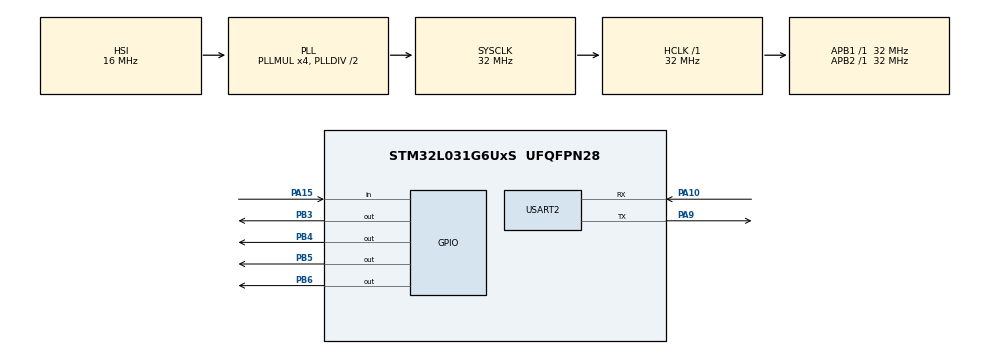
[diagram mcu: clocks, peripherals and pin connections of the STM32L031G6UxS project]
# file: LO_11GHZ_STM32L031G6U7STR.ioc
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Mcu.Family=STM32L0
Mcu.Name=STM32L031G6UxS
Mcu.Package=UFQFPN28
PA10.Mode=Asynchronous
PA10.Signal=USART2_RX
PA13.Mode=Serial_Wire
PA13.Signal=SYS_SWDIO
PA14.Mode=Serial_Wire
PA14.Signal=SYS_SWCLK
PA15.Signal=GPIO_Input
PA9.Mode=Asynchronous
PA9.Signal=USART2_TX
PB3.Signal=GPIO_Output
PB4.Signal=GPIO_Output
PB5.Signal=GPIO_Output
PB6.Signal=GPIO_Output
ProjectManager.HeapSize=0x200
ProjectManager.StackSize=0x400
ProjectManager.TargetToolchain=MDK-ARM V5.32
RCC.AHBFreq_Value=32000000
RCC.APB1Freq_Value=32000000
RCC.APB1TimFreq_Value=32000000
RCC.APB2Freq_Value=32000000
RCC.APB2TimFreq_Value=32000000
RCC.HCLKFreq_Value=32000000
RCC.HSE_VALUE=8000000
RCC.HSI16_VALUE=16000000
RCC.HSI_VALUE=16000000
RCC.LSE_VALUE=32768
RCC.MSI_VALUE=2097000
RCC.PLLMUL=RCC_PLLMUL_4
RCC.SYSCLKFreq_VALUE=32000000
RCC.SYSCLKSource=RCC_SYSCLKSOURCE_PLLCLK
RCC.VCOOutputFreq_Value=64000000
USART2.VirtualMode-Asynchronous=VM_ASYNC
board=custom

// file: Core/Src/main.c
/* USER CODE BEGIN Header */
/**
  ******************************************************************************
  * @file           : main.c
  * @brief          : Main program body
  ******************************************************************************
  * @attention
  *
  * Copyright (c) 2023 STMicroelectronics.
  * All rights reserved.
  *
  * This software is licensed under terms that can be found in the LICENSE file
  * in the root directory of this software component.
  * If no LICENSE file comes with this software, it is provided AS-IS.
  *
  ******************************************************************************
  */
/* USER CODE END Header */
#include "main.h"

/* USER CODE BEGIN Includes */
#include "softspi.h"
#include "adf4372.h"
#include "stdio.h"
#include "string.h"
/* USER CODE END Includes */

UART_HandleTypeDef huart2;

/* USER CODE BEGIN PV */
SoftSPI_TypeDef soft_spi_1;
adf4372_type_def adf4372_1;

uint8_t gui8_adf4372_reg_type[ADF4372_REG_NUMBER];
uint8_t gui8_adf4372_reg_value[ADF4372_REG_NUMBER];

uint8_t send_str[100];
uint8_t receive_str[4];
/* USER CODE END PV */

void SystemClock_Config(void);
static void MX_GPIO_Init(void);
static void MX_USART2_UART_Init(void);

int main(void)
{

  /* MCU Configuration--------------------------------------------------------*/

  /* Reset of all peripherals, Initializes the Flash interface and the Systick. */
  HAL_Init();

  /* Configure the system clock */
  SystemClock_Config();

  /* Initialize all configured peripherals */
  MX_GPIO_Init();
  MX_USART2_UART_Init();

  /* Infinite loop */
  /* USER CODE BEGIN WHILE */

  soft_spi_1.SCLK_GPIO=GPIOB;
  soft_spi_1.SCLK_Pin=GPIO_PIN_4;

  soft_spi_1.SDIO_GPIO=GPIOB;
  soft_spi_1.SDIO_Pin=GPIO_PIN_5;

  soft_spi_1.SS_GPIO=GPIOB;
  soft_spi_1.SS_Pin=GPIO_PIN_6;

  soft_spi_1.Delay_Time=5;

  SoftSPI_Init(&soft_spi_1);

  HAL_GPIO_WritePin(GPIOB,GPIO_PIN_3,GPIO_PIN_SET);

  adf4372_1.adf4372_reg_type=gui8_adf4372_reg_type;
  adf4372_1.adf4372_reg_value=gui8_adf4372_reg_value;
  adf4372_1.f_rfout=11e9;
  adf4372_1.n_frac_1=0;
  adf4372_1.n_frac_2=0;
  adf4372_1.n_int=0;
  adf4372_1.n_mod_1=0;
  adf4372_1.n_mod_2=0;
  adf4372_1.SoftSPIx=&soft_spi_1;

  HAL_Delay(1000);

  //adf4372_init(&adf4372_1);
  adf4372_ace_init(&adf4372_1);

//   HAL_Delay(2000);

//   adf4372_ace_init(&adf4372_1);

  sprintf(send_str,"adf4372 init finished.\r\n");
  HAL_UART_Transmit(&huart2,send_str,strlen(send_str),1000);

  HAL_Delay(100);

 uint32_t rf_int_default=*(__IO uint32_t *)FLASH_USER_START_ADDR;
 uint32_t rf_frac_default=*(__IO uint32_t *)(FLASH_USER_START_ADDR+4);

 if(rf_int_default==0x00||rf_int_default==0xff)
   rf_int_default=10;
 if(rf_frac_default==0x00||rf_frac_default==0xff)
   rf_frac_default=50;

 adf4372_update_freq(&adf4372_1,rf_int_default,rf_frac_default);
 sprintf(send_str,"load default freq: %d.%d GHz\r\n",rf_int_default,rf_frac_default);
 HAL_UART_Transmit(&huart2,send_str,strlen(send_str),1000);

  while (1)
  {
    /* USER CODE END WHILE */

    /* USER CODE BEGIN 3 */
    HAL_UART_Receive(&huart2,receive_str,3,1000);
    if(receive_str[0]!=0)
    {
      switch (receive_str[0])
      {
        case 0x0a:
        {
          sprintf(send_str,"mcu ok\r\n");
          HAL_UART_Transmit(&huart2,send_str,strlen(send_str),1000);
          break;
        }
        case 0x0b:
        {
          SoftSPI_ClrSS(&soft_spi_1);
          SoftSPI_Write_Word(&soft_spi_1,receive_str[1]|0x8000);
          uint8_t read_byte=SoftSPI_Read_Byte(&soft_spi_1);
          SoftSPI_SetSS(&soft_spi_1);

          sprintf(send_str,"read byte is %x\r\n",read_byte);
          HAL_UART_Transmit(&huart2,send_str,strlen(send_str),1000);
          break;
        }
        case 0x0c:
        {
          SoftSPI_ClrSS(&soft_spi_1);
          SoftSPI_Write_Word(&soft_spi_1,receive_str[1]);
          SoftSPI_Write_Byte(&soft_spi_1,receive_str[2]);
          SoftSPI_SetSS(&soft_spi_1);

          sprintf(send_str,"write byte %x, at reg %x\r\n",receive_str[2],receive_str[1]);
          HAL_UART_Transmit(&huart2,send_str,strlen(send_str),1000);
          break;
        }
        case 0x0d:
        {
          uint8_t read_pin = HAL_GPIO_ReadPin(GPIOA,GPIO_PIN_15);
          sprintf(send_str,"read pin is %d\r\n",read_pin);
          HAL_UART_Transmit(&huart2,send_str,strlen(send_str),1000);
          break;
        }
        case 0x0e:
        {
          //adf4372_update_freq(&adf4372_1);
          adf4372_ace_update_freq(&adf4372_1);
          sprintf(send_str,"update freq finish.\r\n");
          HAL_UART_Transmit(&huart2,send_str,strlen(send_str),1000);
          break;
        }
        case 0x0f:
        {
          adf4372_ace_init(&adf4372_1);

          sprintf(send_str,"adf4372 init finished.\r\n");
          HAL_UART_Transmit(&huart2,send_str,strlen(send_str),1000);
          break;
        }
        case 0xaa:
				{
					if(receive_str[1]<100&&receive_str[2]<100)
					{
						adf4372_update_freq(&adf4372_1,receive_str[1],receive_str[2]);
						sprintf(send_str,"update freq: %d.%02d GHz\r\n",receive_str[1],receive_str[2]);
						HAL_UART_Transmit(&huart2,send_str,strlen(send_str),1000);
					}
					else
					{
						sprintf(send_str,"invalid input.\r\n");
						HAL_UART_Transmit(&huart2,send_str,strlen(send_str),1000);
					}
					break;
				}
        case 0xab:
				{
					if(receive_str[1]<100&&receive_str[2]<100)
					{
						adf4372_update_freq(&adf4372_1,receive_str[1],receive_str[2]);
						sprintf(send_str,"update freq: %d.%02d GHz\r\n",receive_str[1],receive_str[2]);
						HAL_UART_Transmit(&huart2,send_str,strlen(send_str),1000);

            freq_write_flash(receive_str[1],receive_str[2]);
            sprintf(send_str,"default freq stored: %d.%02d GHz\r\n",receive_str[1],receive_str[2]);
						HAL_UART_Transmit(&huart2,send_str,strlen(send_str),1000);
					}
					else
					{
						sprintf(send_str,"invalid input.\r\n");
						HAL_UART_Transmit(&huart2,send_str,strlen(send_str),1000);
					}
					break;
				}
      }
      receive_str[0]=0;
    }
  }
  /* USER CODE END 3 */
}

void SystemClock_Config(void)
{
  RCC_OscInitTypeDef RCC_OscInitStruct = {0};
  RCC_ClkInitTypeDef RCC_ClkInitStruct = {0};
  RCC_PeriphCLKInitTypeDef PeriphClkInit = {0};

  /** Configure the main internal regulator output voltage
  */
  __HAL_PWR_VOLTAGESCALING_CONFIG(PWR_REGULATOR_VOLTAGE_SCALE1);

  /** Initializes the RCC Oscillators according to the specified parameters
  * in the RCC_OscInitTypeDef structure.
  */
  RCC_OscInitStruct.OscillatorType = RCC_OSCILLATORTYPE_HSI;
  RCC_OscInitStruct.HSIState = RCC_HSI_ON;
  RCC_OscInitStruct.HSICalibrationValue = RCC_HSICALIBRATION_DEFAULT;
  RCC_OscInitStruct.PLL.PLLState = RCC_PLL_ON;
  RCC_OscInitStruct.PLL.PLLSource = RCC_PLLSOURCE_HSI;
  RCC_OscInitStruct.PLL.PLLMUL = RCC_PLLMUL_4;
  RCC_OscInitStruct.PLL.PLLDIV = RCC_PLLDIV_2;
  if (HAL_RCC_OscConfig(&RCC_OscInitStruct) != HAL_OK)
  {
    Error_Handler();
  }

  /** Initializes the CPU, AHB and APB buses clocks
  */
  RCC_ClkInitStruct.ClockType = RCC_CLOCKTYPE_HCLK|RCC_CLOCKTYPE_SYSCLK
                              |RCC_CLOCKTYPE_PCLK1|RCC_CLOCKTYPE_PCLK2;
  RCC_ClkInitStruct.SYSCLKSource = RCC_SYSCLKSOURCE_PLLCLK;
  RCC_ClkInitStruct.AHBCLKDivider = RCC_SYSCLK_DIV1;
  RCC_ClkInitStruct.APB1CLKDivider = RCC_HCLK_DIV1;
  RCC_ClkInitStruct.APB2CLKDivider = RCC_HCLK_DIV1;

  if (HAL_RCC_ClockConfig(&RCC_ClkInitStruct, FLASH_LATENCY_1) != HAL_OK)
  {
    Error_Handler();
  }
  PeriphClkInit.PeriphClockSelection = RCC_PERIPHCLK_USART2;
  PeriphClkInit.Usart2ClockSelection = RCC_USART2CLKSOURCE_PCLK1;
  if (HAL_RCCEx_PeriphCLKConfig(&PeriphClkInit) != HAL_OK)
  {
    Error_Handler();
  }
}

static void MX_USART2_UART_Init(void)
{

  huart2.Instance = USART2;
  huart2.Init.BaudRate = 115200;
  huart2.Init.WordLength = UART_WORDLENGTH_8B;
  huart2.Init.StopBits = UART_STOPBITS_1;
  huart2.Init.Parity = UART_PARITY_NONE;
  huart2.Init.Mode = UART_MODE_TX_RX;
  huart2.Init.HwFlowCtl = UART_HWCONTROL_NONE;
  huart2.Init.OverSampling = UART_OVERSAMPLING_16;
  huart2.Init.OneBitSampling = UART_ONE_BIT_SAMPLE_DISABLE;
  huart2.AdvancedInit.AdvFeatureInit = UART_ADVFEATURE_NO_INIT;
  if (HAL_UART_Init(&huart2) != HAL_OK)
  {
    Error_Handler();
  }

}

static void MX_GPIO_Init(void)
{
  GPIO_InitTypeDef GPIO_InitStruct = {0};

  /* GPIO Ports Clock Enable */
  __HAL_RCC_GPIOA_CLK_ENABLE();
  __HAL_RCC_GPIOB_CLK_ENABLE();

  /*Configure GPIO pin Output Level */
  HAL_GPIO_WritePin(GPIOB, GPIO_PIN_3|GPIO_PIN_4|GPIO_PIN_5|GPIO_PIN_6, GPIO_PIN_RESET);

  /*Configure GPIO pin : PA15 */
  GPIO_InitStruct.Pin = GPIO_PIN_15;
  GPIO_InitStruct.Mode = GPIO_MODE_INPUT;
  GPIO_InitStruct.Pull = GPIO_NOPULL;
  HAL_GPIO_Init(GPIOA, &GPIO_InitStruct);

  /*Configure GPIO pins : PB3 PB4 PB5 PB6 */
  GPIO_InitStruct.Pin = GPIO_PIN_3|GPIO_PIN_4|GPIO_PIN_5|GPIO_PIN_6;
  GPIO_InitStruct.Mode = GPIO_MODE_OUTPUT_PP;
  GPIO_InitStruct.Pull = GPIO_NOPULL;
  GPIO_InitStruct.Speed = GPIO_SPEED_FREQ_LOW;
  HAL_GPIO_Init(GPIOB, &GPIO_InitStruct);

}

void Error_Handler(void)
{
  __disable_irq();
  while (1)
  {
  }
}
